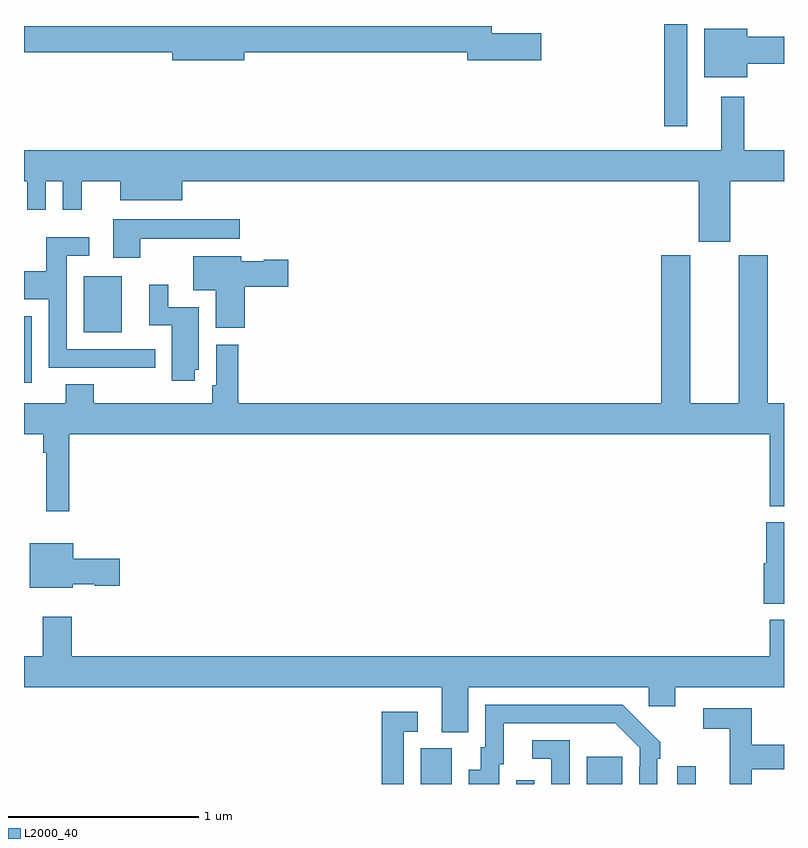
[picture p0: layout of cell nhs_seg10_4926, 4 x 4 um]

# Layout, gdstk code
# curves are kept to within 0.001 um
import gdstk
lib = gdstk.Library(unit=1e-6, precision=1e-09)
def R(c, l, rs):  # rectangles x0, y0, x1, y1
    for r in rs: c.add(gdstk.rectangle(r[:2], r[2:], *l))
def P(c, l, *ps):  # polygons
    for p in ps: c.add(gdstk.Polygon(p, *l))
L2000_40 = (2000, 40)

nhs_seg10_4926 = lib.new_cell('nhs_seg10_4926')
R(nhs_seg10_4926, L2000_40, [(397.088,1274.5,397.252,1274.688), (397.59,1274.5,397.686,1274.521), (397.961,1274.5,398.149,1274.644), (398.439,1274.5,398.535,1274.593), (395,1276.611,395.041,1276.963), (395.315,1276.877,395.515,1277.173), (398.37,1277.961,398.491,1278.5)])
P(nhs_seg10_4926, L2000_40, [(396.16,1278.352),(397.334,1278.352),(397.334,1278.31),(397.723,1278.31),(397.723,1278.452),(397.462,1278.452),(397.462,1278.488),(395,1278.488),(395,1278.352),(395.78,1278.352),(395.78,1278.31),(396.16,1278.31)],
  [(398.806,1278.292),(399,1278.292),(399,1278.434),(398.806,1278.434),(398.806,1278.475),(398.579,1278.475),(398.579,1278.221),(398.806,1278.221)],
  [(398.716,1277.672),(399,1277.672),(399,1277.836),(398.791,1277.836),(398.791,1278.118),(398.669,1278.118),(398.669,1277.836),(395,1277.836),(395,1277.672),(395.018,1277.672),(395.018,1277.523),(395.115,1277.523),(395.115,1277.672),(395.205,1277.672),(395.205,1277.523),(395.303,1277.523),(395.303,1277.672),(395.507,1277.672),(395.507,1277.573),(395.833,1277.573),(395.833,1277.672),(398.552,1277.672),(398.552,1277.355),(398.716,1277.355)],
  [(395.611,1277.369),(396.136,1277.369),(396.136,1277.473),(395.471,1277.473),(395.471,1277.271),(395.611,1277.271)],
  [(395.692,1276.788),(395.226,1276.788),(395.226,1277.28),(395.344,1277.28),(395.344,1277.377),(395.118,1277.377),(395.118,1277.199),(395,1277.199),(395,1277.051),(395.13,1277.051),(395.13,1276.692),(395.455,1276.692),(395.455,1276.691),(395.692,1276.691)],
  [(395.237,1276.34),(398.924,1276.34),(398.924,1275.962),(399,1275.962),(399,1276.504),(398.915,1276.504),(398.915,1277.283),(398.762,1277.283),(398.762,1276.504),(398.506,1276.504),(398.506,1277.283),(398.354,1277.283),(398.354,1276.504),(396.128,1276.504),(396.128,1276.813),(396.012,1276.813),(396.012,1276.6),(395.992,1276.6),(395.992,1276.504),(395.367,1276.504),(395.367,1276.603),(395.219,1276.603),(395.219,1276.504),(395,1276.504),(395,1276.34),(395.101,1276.34),(395.101,1276.244),(395.116,1276.244),(395.116,1275.936),(395.237,1275.936)],
  [(396.161,1277.117),(396.391,1277.117),(396.391,1277.259),(396.261,1277.259),(396.261,1277.251),(396.144,1277.251),(396.144,1277.278),(395.891,1277.278),(395.891,1277.099),(396.008,1277.099),(396.008,1276.902),(396.161,1276.902)],
  [(395.899,1276.68),(395.92,1276.68),(395.92,1277.01),(395.758,1277.01),(395.758,1277.128),(395.66,1277.128),(395.66,1276.914),(395.777,1276.914),(395.777,1276.623),(395.899,1276.623)],
  [(399,1275.877),(398.906,1275.877),(398.906,1275.663),(398.894,1275.663),(398.894,1275.449),(399,1275.449)],
  [(395.256,1275.551),(395.373,1275.551),(395.373,1275.544),(395.503,1275.544),(395.503,1275.686),(395.26,1275.686),(395.26,1275.766),(395.03,1275.766),(395.03,1275.533),(395.256,1275.533)],
  [(397.339,1275.008),(398.289,1275.008),(398.289,1274.91),(398.428,1274.91),(398.428,1275.008),(399,1275.008),(399,1275.364),(398.924,1275.364),(398.924,1275.172),(395.252,1275.172),(395.252,1275.379),(395.099,1275.379),(395.099,1275.172),(395,1275.172),(395,1275.008),(397.199,1275.008),(397.199,1274.773),(397.339,1274.773)],
  [(397.501,1274.604),(397.525,1274.604),(397.525,1274.82),(398.113,1274.82),(398.241,1274.691),(398.241,1274.591),(398.238,1274.591),(398.238,1274.5),(398.334,1274.5),(398.334,1274.633),(398.349,1274.633),(398.349,1274.721),(398.152,1274.916),(397.428,1274.916),(397.428,1274.694),(397.403,1274.694),(397.403,1274.575),(397.34,1274.575),(397.34,1274.5),(397.501,1274.5)],
  [(398.831,1274.578),(399,1274.578),(399,1274.707),(398.831,1274.707),(398.831,1274.898),(398.574,1274.898),(398.574,1274.79),(398.714,1274.79),(398.714,1274.5),(398.831,1274.5)],
  [(396.999,1274.775),(397.072,1274.775),(397.072,1274.881),(396.883,1274.881),(396.883,1274.5),(396.999,1274.5)],
  [(397.872,1274.73),(397.674,1274.73),(397.674,1274.634),(397.776,1274.634),(397.776,1274.5),(397.872,1274.5)])

lib.write_gds('nhs_seg10_4926.gds')
